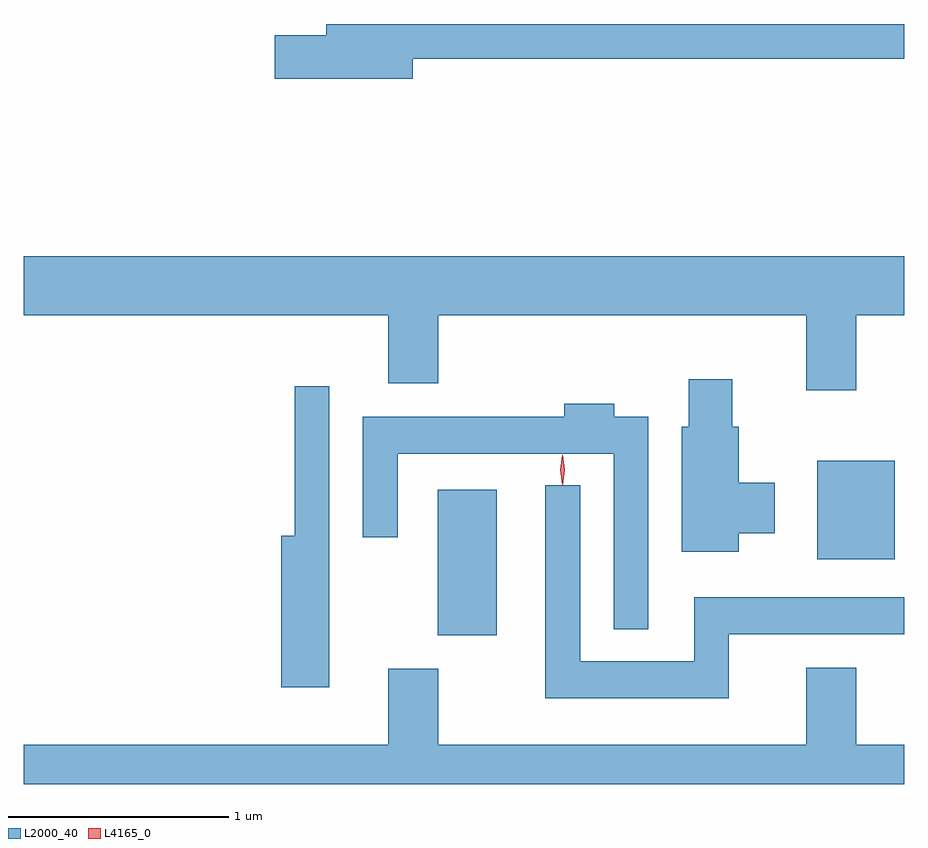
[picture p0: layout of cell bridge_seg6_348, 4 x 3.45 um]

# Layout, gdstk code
import gdstk
lib = gdstk.Library(unit=1e-6, precision=1e-09)
def R(c, l, rs):  # rectangles x0, y0, x1, y1
    for r in rs: c.add(gdstk.rectangle(r[:2], r[2:], *l))
def P(c, l, *ps):  # polygons
    for p in ps: c.add(gdstk.Polygon(p, *l))
L2000_40 = (2000, 40)
L4165_0 = (4165, 0)

bridge_seg6_348 = lib.new_cell('bridge_seg6_348')
R(bridge_seg6_348, L2000_40, [(1330.816,1537.481,1331.084,1538.144), (1332.541,1537.826,1332.894,1538.274)])
P(bridge_seg6_348, L2000_40, [(1330.704,1540.101),(1332.936,1540.101),(1332.936,1540.259),(1330.311,1540.259),(1330.311,1540.209),(1330.076,1540.209),(1330.076,1540.011),(1330.704,1540.011)],
  [(1332.719,1538.936),(1332.936,1538.936),(1332.936,1539.204),(1328.936,1539.204),(1328.936,1538.936),(1330.591,1538.936),(1330.591,1538.626),(1330.819,1538.626),(1330.819,1538.936),(1332.491,1538.936),(1332.491,1538.596),(1332.719,1538.596)],
  [(1332.184,1537.946),(1332.349,1537.946),(1332.349,1538.174),(1332.184,1538.174),(1332.184,1538.429),(1332.154,1538.429),(1332.154,1538.644),(1331.956,1538.644),(1331.956,1538.429),(1331.926,1538.429),(1331.926,1537.861),(1332.184,1537.861)],
  [(1330.324,1538.613),(1330.166,1538.613),(1330.166,1537.934),(1330.106,1537.934),(1330.106,1537.246),(1330.324,1537.246)],
  [(1331.774,1538.474),(1331.619,1538.474),(1331.619,1538.534),(1331.391,1538.534),(1331.391,1538.474),(1330.476,1538.474),(1330.476,1537.928),(1330.634,1537.928),(1330.634,1538.306),(1331.616,1538.306),(1331.616,1537.508),(1331.774,1537.508)],
  [(1332.139,1537.486),(1332.936,1537.486),(1332.936,1537.654),(1331.981,1537.654),(1331.981,1537.364),(1331.464,1537.364),(1331.464,1538.163),(1331.306,1538.163),(1331.306,1537.196),(1332.139,1537.196)],
  [(1332.936,1536.984),(1332.719,1536.984),(1332.719,1537.334),(1332.491,1537.334),(1332.491,1536.984),(1330.819,1536.984),(1330.819,1537.329),(1330.591,1537.329),(1330.591,1536.984),(1328.936,1536.984),(1328.936,1536.806),(1332.936,1536.806)])
P(bridge_seg6_348, L4165_0, [(1331.384,1538.164),(1331.384,1538.164),(1331.374,1538.233),(1331.384,1538.302),(1331.384,1538.303),(1331.385,1538.302),(1331.394,1538.233),(1331.385,1538.164)],
  [(1331.383,1538.167),(1331.374,1538.234),(1331.383,1538.3),(1331.384,1538.3),(1331.384,1538.3),(1331.394,1538.234),(1331.384,1538.167),(1331.384,1538.167)])

lib.write_gds('bridge_seg6_348.gds')
